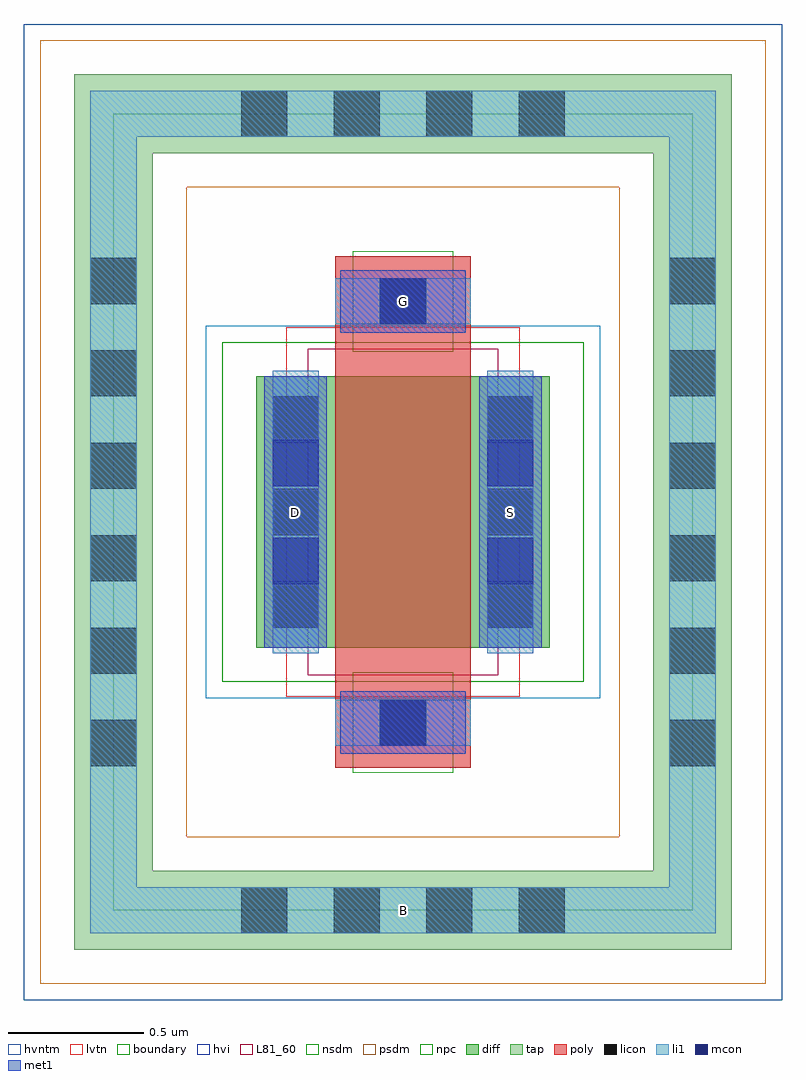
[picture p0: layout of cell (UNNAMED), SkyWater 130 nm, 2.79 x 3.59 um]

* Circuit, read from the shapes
.subckt (UNNAMED) B D G S
XM1 S G D B sky130_fd_pr__nfet_05v0_nvt w=1 l=0.5
.ends

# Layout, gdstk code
import gdstk
lib = gdstk.Library(unit=1e-6, precision=1e-09)
def R(c, l, rs):  # rectangles x0, y0, x1, y1
    for r in rs: c.add(gdstk.rectangle(r[:2], r[2:], *l))
def A(c, l, x, y, w, h, nx, ny, dx, dy):  # array of equal rectangles
    R(c, l, [(x+i*dx, y+j*dy, x+i*dx+w, y+j*dy+h) for i in range(nx) for j in range(ny)])
diff = (65, 20)
tap = (65, 44)
poly = (66, 20)
licon = (66, 44)
li1 = (67, 20)
mcon = (67, 44)
met1 = (68, 20)
hvi = (75, 20)
L81_60 = (81, 60)
nsdm = (93, 44)
psdm = (94, 20)
npc = (95, 20)
hvntm = (125, 20)
lvtn = (125, 44)
boundary = (235, 4)

c__unnamed_ = lib.new_cell('(UNNAMED)')
R(c__unnamed_, diff, [(-0.54,-0.5,0.54,0.5)])
R(c__unnamed_, tap, [(-1.21,-1.61,1.21,-1.32), (-1.21,-1.32,-0.92,1.32), (0.92,-1.32,1.21,1.32), (-1.21,1.32,1.21,1.61)])
R(c__unnamed_, poly, [(-0.25,-0.94,0.25,0.94)])
A(c__unnamed_, licon, -0.595, -1.55, 0.17, 0.17, 4, 2, 0.34, 2.93)
A(c__unnamed_, licon, -1.15, -0.935, 0.17, 0.17, 1, 6, 0, 0.34)
A(c__unnamed_, licon, 0.98, -0.935, 0.17, 0.17, 1, 6, 0, 0.34)
A(c__unnamed_, licon, -0.48, -0.425, 0.17, 0.17, 1, 3, 0, 0.34)
A(c__unnamed_, licon, 0.31, -0.425, 0.17, 0.17, 1, 3, 0, 0.34)
R(c__unnamed_, licon, [(-0.085,-0.86,0.085,-0.69), (-0.085,0.69,0.085,0.86)])
R(c__unnamed_, li1, [(-1.15,-1.55,1.15,-1.38), (-1.15,-1.38,-0.98,1.38), (0.98,-1.38,1.15,1.38), (-0.25,-0.86,0.25,-0.69), (-0.48,-0.52,-0.31,0.52), (0.31,-0.52,0.48,0.52), (-0.25,0.69,0.25,0.86), (-1.15,1.38,1.15,1.55)])
R(c__unnamed_, mcon, [(-0.085,-0.86,0.085,-0.69), (-0.48,-0.265,-0.31,-0.095), (0.31,-0.265,0.48,-0.095), (-0.48,0.095,-0.31,0.265), (0.31,0.095,0.48,0.265), (-0.085,0.69,0.085,0.86)])
R(c__unnamed_, met1, [(-0.23,-0.89,0.23,-0.66), (-0.51,-0.5,-0.28,0.5), (0.28,-0.5,0.51,0.5), (-0.23,0.66,0.23,0.89)])
R(c__unnamed_, hvi, [(-1.395,-1.795,1.395,1.795)])
R(c__unnamed_, L81_60, [(-0.35,-0.6,0.35,0.6)])
R(c__unnamed_, nsdm, [(-0.665,-0.625,0.665,0.625)])
R(c__unnamed_, psdm, [(-1.335,-1.735,1.335,-1.195), (-1.335,-1.195,-0.795,1.195), (0.795,-1.195,1.335,1.195), (-1.335,1.195,1.335,1.735)])
R(c__unnamed_, npc, [(-0.185,-0.96,0.185,-0.59), (-0.185,0.59,0.185,0.96)])
R(c__unnamed_, hvntm, [(-0.725,-0.685,0.725,0.685)])
R(c__unnamed_, lvtn, [(-0.43,-0.68,0.43,0.68)])
R(c__unnamed_, boundary, [(-1.065,-1.465,1.065,1.465)])
c__unnamed_.add(gdstk.Label('B', (0,-1.465), layer=67, texttype=5))
c__unnamed_.add(gdstk.Label('D', (-0.395,0), layer=67, texttype=5))
c__unnamed_.add(gdstk.Label('S', (0.395,0), layer=67, texttype=5))
c__unnamed_.add(gdstk.Label('G', (0,0.775), layer=67, texttype=5))

lib.write_gds('_UNNAMED_.gds')
